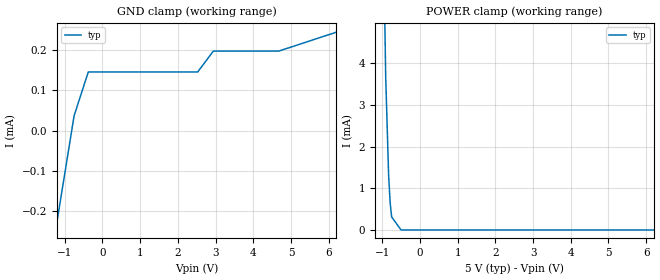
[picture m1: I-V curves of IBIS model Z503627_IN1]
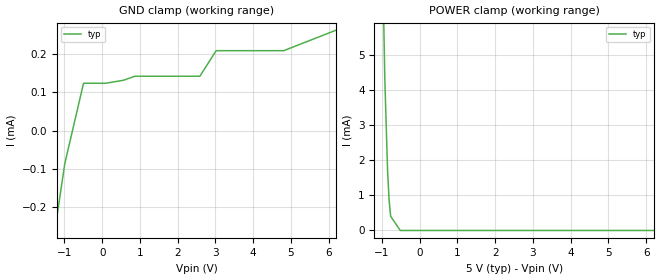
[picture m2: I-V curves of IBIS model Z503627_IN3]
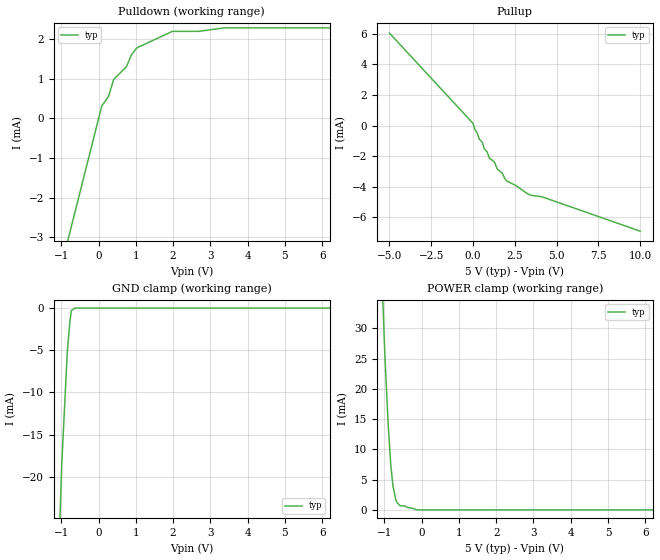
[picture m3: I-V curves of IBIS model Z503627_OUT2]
| YOU ARE ONLY AUTHORIZED TO USE THIS SOFTWARE
| ACCORDING TO LICENSOR'S LICENSE RESTRICTIONS.
[IBIS Ver] 3.1
[File Name] mc14516bl.ibs
[File Rev] 2.0
[Source] Measured and created by ICX Technology
[Date] Friday 7/14/00 9:07:56 AM
[Copyright]
| (C) COPYRIGHT 1993-2000
| MENTOR GRAPHICS CORPORATION
| ICX STANDARD LIBRARY, ICX PROJECT MODELING,
| ICX CUSTOM MODELING, ICX VENDOR MODEL
| ALL RIGHTS RESERVED.
| THE FOLLOWING ARE TRADEMARKS OR SERVICE MARKS OF
| MENTOR GRAPHICS CORPORATION:ICX (R), ICX STANDARD
| LIBRARY(R), ICX PROJECT MODELING(R), ICX CUSTOM
| MODELING(R), qualityIBIS(TM), MODELVIEWER(TM),
| AND MODELEDITOR(TM)
| ALL COPIES OF SOFTWARE, INCLUDING BUT NOT LIMITED TO
| ANY MODIFICATIONS, ENHANCEMENTS OR DERIVATIVE WORKS,
| MUST CONTAIN ALL MENTOR GRAPHICS CORPORATION'S
| NOTICES AND LEGENDS, INCLUDING THOSE EMBEDDED IN
| SOFTWARE AND THOSE AFFIXED TO SOFTWARE MEDIUM
| AND CONTAINER, AS RECEIVED FROM MENTOR GRAPHICS
| CORPORATION.
|  ZAP Model Builder 2.7
[Component] MC14516BL
[Manufacturer] OnSemiconductor
[Package]
| variable   typ   min   max
R_pkg  .212ohms NA NA
L_pkg  4.758nH NA NA
C_pkg  1.944pF NA NA
[Pin] signal_name  model_name  R_pin  L_pin C_pin
1 PE Z503627_IN1 .224 7.258n 2.683p
2 Q3 Z503627_OUT2 .216 5.258n 2.19p
3 P3 Z503627_IN3 .208 3.758n 1.697p
4 P0 Z503627_IN3 .2 2.758n 1.204p
5 _CARY_IN Z503627_IN1 .2 2.758n 1.204p
6 Q0 Z503627_OUT2 .208 3.758n 1.697p
7 _CARY_OUT Z503627_OUT4 .216 5.258n 2.19p
8 VSS POWER .224 7.258n 2.683p
9 RST Z503627_IN1 .224 7.258n 2.683p
10 U/D Z503627_IN1 .216 5.258n 2.19p
11 Q1 Z503627_OUT2 .208 3.758n 1.697p
12 P1 Z503627_IN3 .2 2.758n 1.204p
13 P2 Z503627_IN3 .2 2.758n 1.204p
14 Q2 Z503627_OUT2 .208 3.758n 1.697p
15 CLK Z503627_IN1 .216 5.258n 2.19p
16 VDD POWER .224 7.258n 2.683p
| Models and submodels in the file (4): Z503627_IN1 (Input), Z503627_IN3 (Input), Z503627_OUT2 (Output), Z503627_OUT4 (Output)
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| (C) COPYRIGHT 1993-2000
| MENTOR GRAPHICS CORPORATION
| ICX STANDARD LIBRARY, ICX PROJECT MODELING,
| ICX CUSTOM MODELING, ICX VENDOR MODEL
| ALL RIGHTS RESERVED.
| THE FOLLOWING ARE TRADEMARKS OR SERVICE MARKS OF
| MENTOR GRAPHICS CORPORATION:ICX (R), ICX STANDARD
| LIBRARY(R), ICX PROJECT MODELING(R), ICX CUSTOM
| MODELING(R), qualityIBIS(TM), MODELVIEWER(TM),
| AND MODELEDITOR(TM)
| ALL COPIES OF SOFTWARE, INCLUDING BUT NOT LIMITED TO
| ANY MODIFICATIONS, ENHANCEMENTS OR DERIVATIVE WORKS,
| MUST CONTAIN ALL MENTOR GRAPHICS CORPORATION'S
| NOTICES AND LEGENDS, INCLUDING THOSE EMBEDDED IN
| SOFTWARE AND THOSE AFFIXED TO SOFTWARE MEDIUM
| AND CONTAINER, AS RECEIVED FROM MENTOR GRAPHICS
| CORPORATION.
| Model Application Version 1.89 2/18/99.
[Model] Z503627_IN1
Model_type Input
Vinl = 1.500V
Vinh = 3.500V
C_comp 4.000pF NA NA
| variable typ   min   max
[Voltage Range] 5.000V NA NA
[GND Clamp Reference] 0.000V NA NA
[POWER Clamp Reference] 5.000V NA NA
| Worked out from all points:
|   POWER clamp passes 1 mA (typ) near -0.81 V on its own axis
[GND Clamp]
-5V       -2.429mA   NA         NA
-751.5mV  36.76uA    NA         NA
-375.8mV  145.6uA    NA         NA
2.527V    145.6uA    NA         NA
2.941V    197.5uA    NA         NA
4.676V    197.5uA    NA         NA
10V       361.4uA    NA         NA
[POWER Clamp]
-5V       558.3mA    NA         NA
-1.238V   31.69mA    NA         NA
-1.058V   13.27mA    NA         NA
-1.004V   9.04mA     NA         NA
-908mV    3.673mA    NA         NA
-831mV    1.32mA     NA         NA
-792mV    675.5uA    NA         NA
-751mV    314.3uA    NA         NA
-500.7mV  0A         NA         NA
10V       0A         NA         NA
| (C) COPYRIGHT 1993-2000
| MENTOR GRAPHICS CORPORATION
| ICX STANDARD LIBRARY, ICX PROJECT MODELING,
| ICX CUSTOM MODELING, ICX VENDOR MODEL
| ALL RIGHTS RESERVED.
| THE FOLLOWING ARE TRADEMARKS OR SERVICE MARKS OF
| MENTOR GRAPHICS CORPORATION:ICX (R), ICX STANDARD
| LIBRARY(R), ICX PROJECT MODELING(R), ICX CUSTOM
| MODELING(R), qualityIBIS(TM), MODELVIEWER(TM),
| AND MODELEDITOR(TM)
| ALL COPIES OF SOFTWARE, INCLUDING BUT NOT LIMITED TO
| ANY MODIFICATIONS, ENHANCEMENTS OR DERIVATIVE WORKS,
| MUST CONTAIN ALL MENTOR GRAPHICS CORPORATION'S
| NOTICES AND LEGENDS, INCLUDING THOSE EMBEDDED IN
| SOFTWARE AND THOSE AFFIXED TO SOFTWARE MEDIUM
| AND CONTAINER, AS RECEIVED FROM MENTOR GRAPHICS
| CORPORATION.
| Model Application Version 1.89 2/18/99.
[Model] Z503627_IN3
Model_type Input
Vinl = 1.500V
Vinh = 3.500V
C_comp 4.000pF NA NA
| variable typ   min   max
[Voltage Range] 5.000V NA NA
[GND Clamp Reference] 0.000V NA NA
[POWER Clamp Reference] 5.000V NA NA
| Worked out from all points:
|   POWER clamp passes 1 mA (typ) near -0.82 V on its own axis
[GND Clamp]
-5V       -2.725mA   NA         NA
-988.9mV  -84.98uA   NA         NA
-494.5mV  122.8uA    NA         NA
89.55mV   122.8uA    NA         NA
569.2mV   130.8uA    NA         NA
865.1mV   141.1uA    NA         NA
2.587V    141.1uA    NA         NA
3.018V    207.5uA    NA         NA
4.808V    207.5uA    NA         NA
10V       407.1uA    NA         NA
[POWER Clamp]
-5V       582mA      NA         NA
-1.254V   34.94mA    NA         NA
-1.094V   16.71mA    NA         NA
-1.004V   9.068mA    NA         NA
-926mV    4.378mA    NA         NA
-851mV    1.711mA    NA         NA
-812mV    885.9uA    NA         NA
-770mV    403.4uA    NA         NA
-513.3mV  0A         NA         NA
10V       0A         NA         NA
| (C) COPYRIGHT 1993-2000
| MENTOR GRAPHICS CORPORATION
| ICX STANDARD LIBRARY, ICX PROJECT MODELING,
| ICX CUSTOM MODELING, ICX VENDOR MODEL
| ALL RIGHTS RESERVED.
| THE FOLLOWING ARE TRADEMARKS OR SERVICE MARKS OF
| MENTOR GRAPHICS CORPORATION:ICX (R), ICX STANDARD
| LIBRARY(R), ICX PROJECT MODELING(R), ICX CUSTOM
| MODELING(R), qualityIBIS(TM), MODELVIEWER(TM),
| AND MODELEDITOR(TM)
| ALL COPIES OF SOFTWARE, INCLUDING BUT NOT LIMITED TO
| ANY MODIFICATIONS, ENHANCEMENTS OR DERIVATIVE WORKS,
| MUST CONTAIN ALL MENTOR GRAPHICS CORPORATION'S
| NOTICES AND LEGENDS, INCLUDING THOSE EMBEDDED IN
| SOFTWARE AND THOSE AFFIXED TO SOFTWARE MEDIUM
| AND CONTAINER, AS RECEIVED FROM MENTOR GRAPHICS
| CORPORATION.
| Model Application Version 1.89 2/18/99.
[Model] Z503627_OUT2
Model_type Output
Vref=0.000V
Rref=500.0Mohms
Cref=50.00pF
Vmeas=2.500V
C_comp 8.000pF NA NA
| variable typ   min   max
[Voltage Range] 5.000V NA NA
[POWER Clamp Reference] 5.000V NA NA
[Pullup Reference] 5.000V NA NA
[Pulldown Reference] 0.000V NA NA
[GND Clamp Reference] 0.000V NA NA
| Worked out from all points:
|   slope of the pulldown table from 0 to 0.75 V, typ, clamps not added: 568 ohm
|   slope of the pullup table from 0 to 0.75 V, typ, clamps not added: 428 ohm
|   GND clamp passes 1 mA (typ) near -0.75 V on its own axis
|   POWER clamp passes 1 mA (typ) near -0.63 V on its own axis
[GND Clamp]
-5V       -770.8mA   NA         NA
-1.16V    -41.38mA   NA         NA
-985.8mV  -18.4mA    NA         NA
-839.7mV  -5.262mA   NA         NA
-766.2mV  -1.489mA   NA         NA
-728mV    -293.7uA   NA         NA
-637mV    0A         NA         NA
10V       0A         NA         NA
[Pulldown]
-5V       -18.64mA   NA         NA
86.25mV   314.5uA    NA         NA
266.4mV   557.6uA    NA         NA
407.3mV   989.7uA    NA         NA
747.4mV   1.307mA    NA         NA
883.6mV   1.607mA    NA         NA
1.025V    1.782mA    NA         NA
1.978V    2.2mA      NA         NA
2.678V    2.2mA      NA         NA
3.377V    2.289mA    NA         NA
10V       2.289mA    NA         NA
[Pullup]
-5V       6.056mA    NA         NA
5mV       145.5uA    NA         NA
363mV     -862.5uA   NA         NA
562mV     -1.092mA   NA         NA
679mV     -1.523mA   NA         NA
981mV     -2.128mA   NA         NA
1.278V    -2.369mA   NA         NA
1.457V    -2.846mA   NA         NA
2.017V    -3.617mA   NA         NA
3.452V    -4.553mA   NA         NA
4.13V     -4.653mA   NA         NA
10V       -6.899mA   NA         NA
[POWER Clamp]
-5V       770.2mA    NA         NA
-1.172V   56.12mA    NA         NA
-985mV    25.67mA    NA         NA
-896mV    14.09mA    NA         NA
-825mV    7.312mA    NA         NA
-766mV    3.844mA    NA         NA
-689mV    1.62mA     NA         NA
-651mV    1.14mA     NA         NA
-575mV    678.6uA    NA         NA
-454mV    641.5uA    NA         NA
-127mV    0A         NA         NA
10V       0A         NA         NA
[Ramp]
| variable typ min max
dV/dt_r 2.509/24.56n NA NA
dV/dt_f 2.509/15.60n NA NA
R_load = 2.500kOhms
